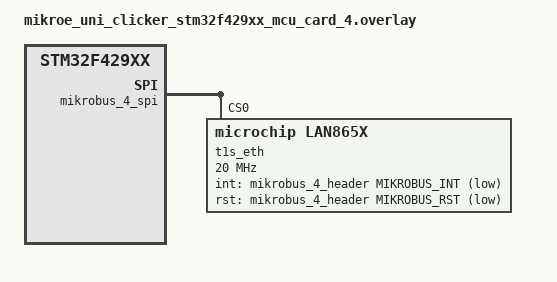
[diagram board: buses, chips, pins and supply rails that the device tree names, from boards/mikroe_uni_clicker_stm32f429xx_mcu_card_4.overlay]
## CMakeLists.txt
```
# Copyright (c) 2026 Mario Paja
# SPDX-License-Identifier: Apache-2.0

cmake_minimum_required(VERSION 3.20.0)

find_package(Zephyr REQUIRED HINTS $ENV{ZEPHYR_BASE})
project(t1s_usb_bridge)

# USB device setup shared by the Zephyr USB samples (sample_usbd_init_device())
include(${ZEPHYR_BASE}/samples/subsys/usb/common/common.cmake)

target_sources(app PRIVATE src/main.c)
```

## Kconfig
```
# Copyright (c) 2026 Mario Paja
# SPDX-License-Identifier: Apache-2.0

# USB device descriptor options (SAMPLE_USBD_*) of the shared USB sample code
source "samples/subsys/usb/common/Kconfig.sample_usbd"

menu "T1S USB bridge"

config T1S_BRIDGE_IPV4_ADDR
	string "Static IPv4 address of the bridge"
	default ""
	help
	  Management address of the bridge interface. Leave empty to take an
	  address by DHCPv4. Devices on the 10BASE-T1S segment are not
	  affected: they still use DHCP through the bridge.

config T1S_BRIDGE_STATIC_IPV4
	def_bool T1S_BRIDGE_IPV4_ADDR != ""

config T1S_BRIDGE_IPV4_NETMASK
	string "IPv4 netmask of the bridge"
	default "255.255.255.0"

config T1S_BRIDGE_IPV4_GW
	string "IPv4 gateway of the bridge"
	default ""

endmenu

source "Kconfig.zephyr"
```

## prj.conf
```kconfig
# Copyright (c) 2026 Mario Paja
# SPDX-License-Identifier: Apache-2.0

# Networking: IPv4 only, used for the management address of the bridge
CONFIG_NETWORKING=y
CONFIG_NET_IPV4=y
CONFIG_NET_IPV6=n
CONFIG_NET_DHCPV4=y
CONFIG_NET_UDP=y
CONFIG_NET_TCP=y
CONFIG_NET_MGMT=y
CONFIG_NET_MGMT_EVENT=y
CONFIG_NET_MGMT_EVENT_STACK_SIZE=2048
CONFIG_NET_STATISTICS=y
CONFIG_NET_SHELL=y
# IPv4 configuration for the bridge and both port interfaces
CONFIG_NET_IF_MAX_IPV4_COUNT=4
# ARP probes and announcements for a static bridge address, so that proxy ARP
# on the host learns it without waiting for other traffic
CONFIG_NET_IPV4_ACD=y

# Static bridge address; T1S devices still get theirs by DHCP (relayed by the
# host). Leave CONFIG_T1S_BRIDGE_IPV4_ADDR empty to use DHCP for the bridge.
CONFIG_T1S_BRIDGE_IPV4_ADDR="10.10.193.75"
CONFIG_T1S_BRIDGE_IPV4_GW="10.10.193.1"

# Buffers sized for 10 Mbit/s on both ports and 192 KB SRAM
CONFIG_NET_PKT_RX_COUNT=24
CONFIG_NET_PKT_TX_COUNT=24
CONFIG_NET_BUF_RX_COUNT=64
CONFIG_NET_BUF_TX_COUNT=64

# Layer 2 bridge between the USB CDC NCM and the LAN865x interfaces
CONFIG_ETH_DRIVER=y
CONFIG_NET_ETHERNET_BRIDGE=y
CONFIG_NET_ETHERNET_BRIDGE_FDB=y
CONFIG_NET_ETHERNET_BRIDGE_SHELL=y
# Bridge MAC derived from the STM32 96-bit unique ID: the same on every boot,
# so the DHCP server can hand out the same address (or a reservation)
CONFIG_HWINFO=y
CONFIG_NET_ETHERNET_BRIDGE_UNIQUE_MAC=y

# USB device: CDC NCM network interface only. The STM32F429 USB OTG FS
# controller has 4 endpoints, too few for CDC NCM and the board's CDC ACM
# console together, so the console, log and shell use SEGGER RTT.
CONFIG_BOARD_SERIAL_BACKEND_CDC_ACM=n
CONFIG_USB_DEVICE_STACK_NEXT=y
CONFIG_USBD_CDC_ACM_CLASS=n
CONFIG_USBD_CDC_NCM_CLASS=y
CONFIG_SAMPLE_USBD_PRODUCT="UNI Clicker T1S bridge"
CONFIG_USBD_LOG_LEVEL_WRN=y
CONFIG_UDC_DRIVER_LOG_LEVEL_WRN=y

# Console and shell on SEGGER RTT (J-Link); the log is printed by the shell
CONFIG_USE_SEGGER_RTT=y
CONFIG_UART_CONSOLE=n
CONFIG_RTT_CONSOLE=y
CONFIG_LOG=y
CONFIG_LOG_BACKEND_RTT=n
CONFIG_LOG_BACKEND_UART=n
CONFIG_SHELL=y
CONFIG_SHELL_BACKEND_RTT=y
CONFIG_SHELL_BACKEND_SERIAL=n
# Room for a full shell command line sent at once (default: 16 bytes)
CONFIG_SEGGER_RTT_BUFFER_SIZE_DOWN=128
CONFIG_MAIN_STACK_SIZE=2048

# Second shell on telnet (port 23) once the bridge has an address. The shell
# is unauthenticated: use on a trusted network only.
CONFIG_SHELL_BACKEND_TELNET=y
```

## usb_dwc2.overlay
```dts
/*
 * Copyright (c) 2026 Mario Paja
 * SPDX-License-Identifier: Apache-2.0
 *
 * Use the generic DWC2 USB device driver for the STM32F429 OTG_FS controller
 * instead of the STM32 HAL based driver (udc_stm32). The GHWCFG values were
 * read from an STM32F429NI (GSNPSID 0x4F54281A): EP0 and three device
 * endpoints, dedicated TX FIFOs. FIFO sizes are in 32-bit words and fit the
 * 1.25 KB (320 words) OTG_FS FIFO RAM.
 *
 * Build with -DEXTRA_DTC_OVERLAY_FILE=usb_dwc2.overlay
 */

#include <zephyr/dt-bindings/clock/stm32f4_clock.h>

/*
 * The board's CDC ACM console node lives under the deleted controller;
 * this application uses RTT instead.
 */
/ {
	chosen {
		/delete-property/ zephyr,console;
		/delete-property/ zephyr,shell-uart;
		/delete-property/ zephyr,uart-mcumgr;
		/delete-property/ zephyr,bt-mon-uart;
		/delete-property/ zephyr,bt-c2h-uart;
	};
};

/delete-node/ &zephyr_udc0;

/ {
	soc {
		dwc2_fsotg0: usb@50000000 {
			compatible = "st,stm32f4-fsotg", "snps,dwc2";
			reg = <0x50000000 0x40000>;
			interrupts = <67 0>;
			interrupt-names = "fsotg";
			clocks = <&rcc STM32_CLOCK_BUS_AHB2 0x00000080>,
				 <&rcc STM32_SRC_PLL_Q NO_SEL>;
			num-out-eps = <4>;
			num-in-eps = <4>;
			ghwcfg1 = <0x00000000>;
			ghwcfg2 = <0x229dcd20>;
			ghwcfg4 = <0x0ff08030>;
			g-rx-fifo-size = <128>;
			g-np-tx-fifo-size = <16>;
			g-tx-fifo-size = <48 48 48>;
			status = "disabled";
		};
	};
};

zephyr_udc0: &dwc2_fsotg0 {
	pinctrl-0 = <&usb_otg_fs_dm_pa11 &usb_otg_fs_dp_pa12>;
	pinctrl-names = "default";
	status = "okay";
};
```

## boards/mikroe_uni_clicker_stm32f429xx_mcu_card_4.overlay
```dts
/*
 * Copyright (c) 2026 Mario Paja
 * SPDX-License-Identifier: Apache-2.0
 *
 * USB CDC NCM network interface, and a MikroE Two-Wire ETH Click (LAN865x)
 * on mikroBUS 4 as the 10BASE-T1S PLCA coordinator (node 0).
 */

#include <zephyr/dt-bindings/gpio/mikro-bus.h>

/ {
	cdc_ncm_eth0: cdc_ncm_eth0 {
		compatible = "zephyr,cdc-ncm-ethernet";
		remote-mac-address = "00005E005301";
	};
};

/* mikroBUS 4: SPI4 */
&mikrobus_4_spi {
	status = "okay";

	t1s_eth: lan865x@0 {
		compatible = "microchip,lan865x";
		reg = <0>;
		spi-max-frequency = <20000000>;
		spi-cs-setup-delay-ns = <1000>;
		int-gpios = <&mikrobus_4_header MIKROBUS_INT GPIO_ACTIVE_LOW>;
		rst-gpios = <&mikrobus_4_header MIKROBUS_RST GPIO_ACTIVE_LOW>;
		phy-handle = <&t1s_phy>;
		zephyr,random-mac-address;
		status = "okay";

		t1s_mdio: lan865x_mdio {
			compatible = "microchip,lan865x-mdio";
			#address-cells = <1>;
			#size-cells = <0>;
			status = "okay";

			t1s_phy: ethernet-phy@0 {
				compatible = "microchip,t1s-phy";
				reg = <0x0>;
				plca-enable;
				plca-node-id = <0>;
				plca-node-count = <8>;
				plca-burst-count = <0x0>;
				plca-burst-timer = <0x80>;
				plca-to-timer = <0x20>;
				status = "okay";
			};
		};
	};
};
```

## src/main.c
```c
/*
 * Copyright (c) 2026 Mario Paja
 * SPDX-License-Identifier: Apache-2.0
 *
 * Layer 2 bridge between a USB CDC NCM interface (to the host) and a
 * LAN865x 10BASE-T1S interface. The bridge interface takes a static
 * management address (CONFIG_T1S_BRIDGE_IPV4_ADDR) or one by DHCPv4.
 */

#include <zephyr/kernel.h>
#include <zephyr/logging/log.h>
#include <zephyr/net/net_if.h>
#include <zephyr/net/dhcpv4.h>
#include <zephyr/net/ethernet.h>
#include <zephyr/net/ethernet_bridge.h>
#include <zephyr/net/net_mgmt.h>
#include <zephyr/usb/usbd.h>

#include <sample_usbd.h>

LOG_MODULE_REGISTER(t1s_usb_bridge, LOG_LEVEL_INF);

static void bridge_find_cb(struct eth_bridge_iface_context *br, void *user_data)
{
	struct net_if **bridge = user_data;

	if (*bridge == NULL) {
		*bridge = br->iface;
	}
}

static void bridge_add_cb(struct net_if *iface, void *user_data)
{
	struct net_if *bridge = user_data;
	int ret;

	if (iface == bridge || net_if_l2(iface) != &NET_L2_GET_NAME(ETHERNET)) {
		return;
	}

	ret = eth_bridge_iface_add(bridge, iface);
	if (ret < 0) {
		LOG_ERR("Adding iface %d (%s) to the bridge failed: %d",
			net_if_get_by_iface(iface), iface->if_dev->dev->name, ret);
		return;
	}

	LOG_INF("Bridge port: iface %d (%s)", net_if_get_by_iface(iface),
		iface->if_dev->dev->name);
}

/* Restart DHCPv4 on the bridge when a port comes up */
static void port_up_handler(struct net_mgmt_event_callback *cb, uint64_t mgmt_event,
			    struct net_if *iface)
{
	struct ethernet_context *eth_ctx;

	ARG_UNUSED(cb);

	if (IS_ENABLED(CONFIG_T1S_BRIDGE_STATIC_IPV4) || mgmt_event != NET_EVENT_IF_UP ||
	    net_if_l2(iface) != &NET_L2_GET_NAME(ETHERNET)) {
		return;
	}

	eth_ctx = net_if_l2_data(iface);
	if (net_eth_iface_is_bridged(eth_ctx)) {
		net_dhcpv4_restart(net_eth_get_bridge(eth_ctx));
	}
}

static int bridge_set_static_ipv4(struct net_if *bridge)
{
	struct net_in_addr addr;
	struct net_in_addr netmask;
	struct net_in_addr gw;

	if (net_addr_pton(NET_AF_INET, CONFIG_T1S_BRIDGE_IPV4_ADDR, &addr) < 0 ||
	    net_addr_pton(NET_AF_INET, CONFIG_T1S_BRIDGE_IPV4_NETMASK, &netmask) < 0) {
		LOG_ERR("Invalid static IPv4 address or netmask");
		return -EINVAL;
	}

	if (net_if_ipv4_addr_add(bridge, &addr, NET_ADDR_MANUAL, 0) == NULL) {
		LOG_ERR("Adding %s failed", CONFIG_T1S_BRIDGE_IPV4_ADDR);
		return -ENOMEM;
	}

	net_if_ipv4_set_netmask_by_addr(bridge, &addr, &netmask);

	if (net_addr_pton(NET_AF_INET, CONFIG_T1S_BRIDGE_IPV4_GW, &gw) == 0) {
		net_if_ipv4_set_gw(bridge, &gw);
	}

	LOG_INF("Bridge address %s", CONFIG_T1S_BRIDGE_IPV4_ADDR);
	return 0;
}

int main(void)
{
	static struct net_mgmt_event_callback mgmt_cb;
	struct usbd_context *usbd;
	struct net_if *bridge = NULL;
	int ret;

	/* USB device with the CDC NCM network interface */
	usbd = sample_usbd_init_device(NULL);
	if (usbd == NULL) {
		LOG_ERR("USB device init failed");
		return -ENODEV;
	}

	ret = usbd_enable(usbd);
	if (ret != 0) {
		LOG_ERR("USB device enable failed: %d", ret);
		return ret;
	}

	net_eth_bridge_foreach(bridge_find_cb, &bridge);
	if (bridge == NULL) {
		LOG_ERR("No bridge interface");
		return -ENODEV;
	}

	net_if_foreach(bridge_add_cb, bridge);

	net_mgmt_init_event_callback(&mgmt_cb, port_up_handler, NET_EVENT_IF_UP);
	net_mgmt_add_event_callback(&mgmt_cb);

	ret = net_if_up(bridge);
	if (ret < 0 && ret != -EALREADY) {
		LOG_ERR("Bridge up failed: %d", ret);
		return ret;
	}

	if (IS_ENABLED(CONFIG_T1S_BRIDGE_STATIC_IPV4)) {
		ret = bridge_set_static_ipv4(bridge);
		if (ret < 0) {
			return ret;
		}
	} else {
		net_dhcpv4_start(bridge);
	}

	LOG_INF("Bridge iface %d up", net_if_get_by_iface(bridge));

	return 0;
}
```
